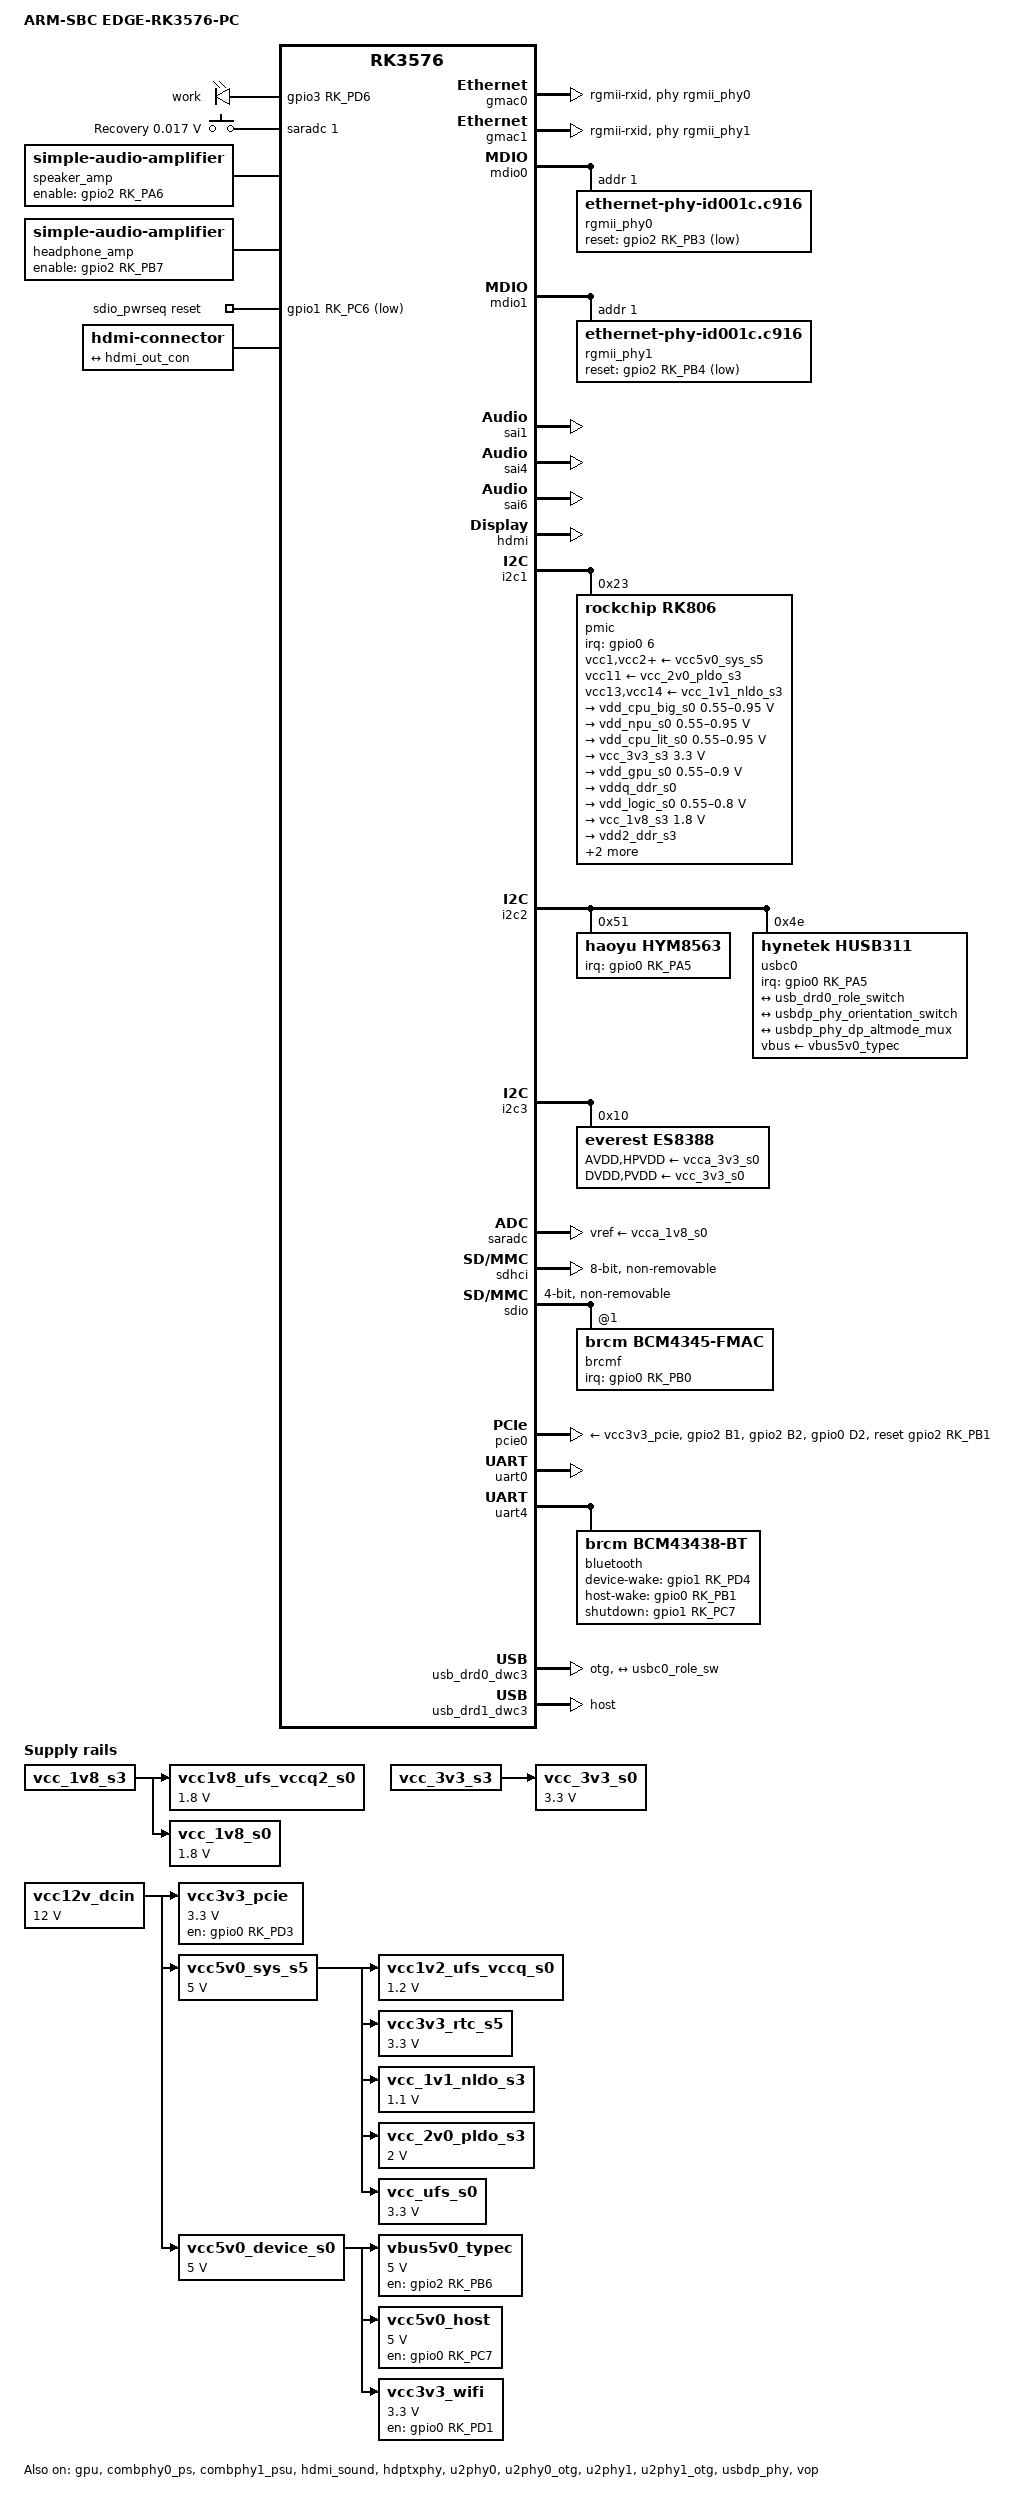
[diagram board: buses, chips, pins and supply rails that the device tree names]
// SPDX-License-Identifier: (GPL-2.0+ OR MIT)
/*
 */

/dts-v1/;

#include <dt-bindings/gpio/gpio.h>
#include <dt-bindings/input/input.h>
#include <dt-bindings/pinctrl/rockchip.h>
#include <dt-bindings/pwm/pwm.h>
#include <dt-bindings/usb/pd.h>
#include <dt-bindings/leds/common.h>
#include <dt-bindings/soc/rockchip,vop2.h>
#include "rk3576.dtsi"

/ {
	model = "ARM-SBC EDGE-RK3576-PC";
	compatible = "armsbc,edge-rk3576-pc", "rockchip,rk3576";

	aliases {
		mmc0 = &sdhci;
		ethernet0 = &gmac0;
		ethernet1 = &gmac1;
	};

	chosen {
		stdout-path = "serial0:1500000n8";
	};
	
	leds: leds {
		compatible = "gpio-leds";

		work {
			linux,default-trigger = "heartbeat";
			gpios = <&gpio3 RK_PD6 GPIO_ACTIVE_HIGH>;
		};
	};

	adc-keys-1 {
		compatible = "adc-keys";
		io-channels = <&saradc 1>;
		io-channel-names = "buttons";
		keyup-threshold-microvolt = <1800000>;
		poll-interval = <100>;

		button-recovery {
			label = "Recovery";
			linux,code = <KEY_VENDOR>;
			press-threshold-microvolt = <17000>;
		};
	};
	
	speaker_amp: speaker-audio-amplifier {
		compatible = "simple-audio-amplifier";
		enable-gpios = <&gpio2 RK_PA6 GPIO_ACTIVE_HIGH>;
		sound-name-prefix = "Speaker Amp";
	};

	headphone_amp: headphones-audio-amplifier {
		compatible = "simple-audio-amplifier";
		enable-gpios = <&gpio2 RK_PB7 GPIO_ACTIVE_HIGH>;
		sound-name-prefix = "Headphones Amp";
	};
	
	es8388_sound: es8388-sound {
		compatible = "simple-audio-card";
		simple-audio-card,format = "i2s";
		simple-audio-card,mclk-fs = <256>;
		simple-audio-card,name = "On-board Analog ES8388";
		simple-audio-card,widgets = "Microphone", "Headphone Mic",
					    "Microphone", "Mic Pads",
					    "Headphone", "Headphone",
					    "Line Out", "Line Out";

		simple-audio-card,routing = "Headphone", "LOUT1",
					    "Headphone", "ROUT1",
					    "Line Out", "LOUT2",
					    "Line Out", "ROUT2",
					    "RINPUT1", "Headphone Mic",
					    "LINPUT2", "Mic Pads",
					    "RINPUT2", "Mic Pads";				
		simple-audio-card,cpu {
			sound-dai = <&sai1>;
		};

		simple-audio-card,codec {
			sound-dai = <&es8388>;
			system-clock-frequency = <12288000>;
		};
	};
	
	sdio_pwrseq: sdiopwrseq {
		compatible = "mmc-pwrseq-simple";
		post-power-on-delay-ms = <200>;
		clock-names = "ext_clock";
		clocks = <&hym8563>;
		pinctrl-names = "default";
		pinctrl-0 = <&wifi_enable_h>;
		reset-gpios = <&gpio1 RK_PC6 GPIO_ACTIVE_LOW>;
	};
	
	hdmi-con {
		compatible = "hdmi-connector";
		type = "a";

		port {
			hdmi_con_in: endpoint {
				remote-endpoint = <&hdmi_out_con>;
			};
		};
	};

	vbus5v0_typec: regulator-vbus5v0-typec {
		compatible = "regulator-fixed";
		enable-active-high;
		gpio = <&gpio2 RK_PB6 GPIO_ACTIVE_HIGH>;
		pinctrl-names = "default";
		pinctrl-0 = <&usb_otg0_pwren_h>;
		regulator-name = "vbus5v0_typec";
		regulator-min-microvolt = <5000000>;
		regulator-max-microvolt = <5000000>;
		vin-supply = <&vcc5v0_device_s0>;
	};

	vcc12v_dcin: regulator-vcc12v-dcin {
		compatible = "regulator-fixed";
		regulator-name = "vcc12v_dcin";
		regulator-always-on;
		regulator-boot-on;
		regulator-min-microvolt = <12000000>;
		regulator-max-microvolt = <12000000>;
	};

	vcc1v2_ufs_vccq_s0: regulator-vcc1v2-ufs-vccq-s0 {
		compatible = "regulator-fixed";
		regulator-name = "vcc1v2_ufs_vccq_s0";
		regulator-boot-on;
		regulator-always-on;
		regulator-min-microvolt = <1200000>;
		regulator-max-microvolt = <1200000>;
		vin-supply = <&vcc5v0_sys_s5>;
	};

	vcc1v8_ufs_vccq2_s0: regulator-vcc1v8-ufs-vccq2-s0 {
		compatible = "regulator-fixed";
		regulator-name = "vcc1v8_ufs_vccq2_s0";
		regulator-boot-on;
		regulator-always-on;
		regulator-min-microvolt = <1800000>;
		regulator-max-microvolt = <1800000>;
		vin-supply = <&vcc_1v8_s3>;
	};

	vcc3v3_pcie: regulator-vcc3v3-pcie {
		compatible = "regulator-fixed";
		enable-active-high;
		gpio = <&gpio0 RK_PD3 GPIO_ACTIVE_HIGH>;
		pinctrl-names = "default";
		pinctrl-0 = <&pcie_pwren_h>;
		regulator-name = "vcc3v3_pcie";
		regulator-min-microvolt = <3300000>;
		regulator-max-microvolt = <3300000>;
		startup-delay-us = <5000>;
		vin-supply = <&vcc12v_dcin>;
	};

	vcc3v3_rtc_s5: regulator-vcc3v3-rtc-s5 {
		compatible = "regulator-fixed";
		regulator-name = "vcc3v3_rtc_s5";
		regulator-boot-on;
		regulator-always-on;
		regulator-min-microvolt = <3300000>;
		regulator-max-microvolt = <3300000>;
		vin-supply = <&vcc5v0_sys_s5>;
	};

	vcc5v0_sys_s5: regulator-vcc5v0-sys-s5 {
		compatible = "regulator-fixed";
		regulator-name = "vcc_sys";
		regulator-always-on;
		regulator-boot-on;
		regulator-min-microvolt = <5000000>;
		regulator-max-microvolt = <5000000>;
		vin-supply = <&vcc12v_dcin>;
	};

	vcc5v0_host: regulator-vcc5v0-host {
		compatible = "regulator-fixed";
		enable-active-high;
		gpio = <&gpio0 RK_PC7 GPIO_ACTIVE_HIGH>;
		pinctrl-names = "default";
		pinctrl-0 = <&usb3_host_pwren_h>;
		regulator-name = "vcc5v0_host";
		regulator-min-microvolt = <5000000>;
		regulator-max-microvolt = <5000000>;
		vin-supply = <&vcc5v0_device_s0>;
	};
	
	vcc5v0_device_s0: regulator-vcc5v0-device-s0 {
		compatible = "regulator-fixed";
		enable-active-high;
		pinctrl-names = "default";
		regulator-name = "vcc5v0_device";
		regulator-always-on;
		regulator-boot-on;
		regulator-min-microvolt = <5000000>;
		regulator-max-microvolt = <5000000>;
		vin-supply = <&vcc12v_dcin>;
	};

	vcc_1v1_nldo_s3: regulator-vcc-1v1-nldo-s3 {
		compatible = "regulator-fixed";
		regulator-name = "vcc_1v1_nldo_s3";
		regulator-boot-on;
		regulator-always-on;
		regulator-min-microvolt = <1100000>;
		regulator-max-microvolt = <1100000>;
		vin-supply = <&vcc5v0_sys_s5>;
	};

	vcc_1v8_s0: regulator-vcc-1v8-s0 {
		compatible = "regulator-fixed";
		regulator-name = "vcc_1v8_s0";
		regulator-boot-on;
		regulator-always-on;
		regulator-min-microvolt = <1800000>;
		regulator-max-microvolt = <1800000>;
		vin-supply = <&vcc_1v8_s3>;
	};

	vcc_2v0_pldo_s3: regulator-vcc-2v0-pldo-s3 {
		compatible = "regulator-fixed";
		regulator-name = "vcc_2v0_pldo_s3";
		regulator-boot-on;
		regulator-always-on;
		regulator-min-microvolt = <2000000>;
		regulator-max-microvolt = <2000000>;
		vin-supply = <&vcc5v0_sys_s5>;
	};

	vcc_3v3_s0: regulator-vcc-3v3-s0 {
		compatible = "regulator-fixed";
		regulator-name = "vcc_3v3_s0";
		regulator-boot-on;
		regulator-always-on;
		regulator-min-microvolt = <3300000>;
		regulator-max-microvolt = <3300000>;
		vin-supply = <&vcc_3v3_s3>;
	};

	vcc_ufs_s0: regulator-vcc-ufs-s0 {
		compatible = "regulator-fixed";
		regulator-name = "vcc_ufs_s0";
		regulator-boot-on;
		regulator-always-on;
		regulator-min-microvolt = <3300000>;
		regulator-max-microvolt = <3300000>;
		vin-supply = <&vcc5v0_sys_s5>;
	};
	
	vcc3v3_wifi: vcc3v3-wifi {
		compatible = "regulator-fixed";
		enable-active-high;
		gpio = <&gpio0 RK_PD1 GPIO_ACTIVE_HIGH>;
		pinctrl-names = "default";
		regulator-name = "vcc3v3_wifi";
		pinctrl-0 = <&vcc3v3_wifi_en>;
		regulator-always-on;
		regulator-boot-on;
		regulator-min-microvolt = <3300000>;
		regulator-max-microvolt = <3300000>;
		startup-delay-us = <50000>;
		vin-supply = <&vcc5v0_device_s0>;
	};
};

&cpu_l0 {
	cpu-supply = <&vdd_cpu_lit_s0>;
};

&cpu_l1 {
	cpu-supply = <&vdd_cpu_lit_s0>;
};

&cpu_l2 {
	cpu-supply = <&vdd_cpu_lit_s0>;
};

&cpu_l3 {
	cpu-supply = <&vdd_cpu_lit_s0>;
};

&cpu_b0 {
	cpu-supply = <&vdd_cpu_big_s0>;
};

&cpu_b1 {
	cpu-supply = <&vdd_cpu_big_s0>;
};

&cpu_b2 {
	cpu-supply = <&vdd_cpu_big_s0>;
};

&cpu_b3 {
	cpu-supply = <&vdd_cpu_big_s0>;
};

&gpu {
	mali-supply = <&vdd_gpu_s0>;
	status = "okay";
};

&combphy0_ps {
	status = "okay";
};

&combphy1_psu {
	status = "okay";
};

&gmac0 {
	clock_in_out = "output";
	pinctrl-names = "default";
	pinctrl-0 = <&eth0m0_miim
		     &eth0m0_tx_bus2
		     &eth0m0_rx_bus2
		     &eth0m0_rgmii_clk
		     &eth0m0_rgmii_bus
		     &ethm0_clk0_25m_out>;
	phy-mode = "rgmii-rxid";
	phy-handle = <&rgmii_phy0>;
	status = "okay";
	//rx_delay = <0x00>;
	tx_delay = <0x20>;
};

&gmac1 {
	clock_in_out = "output";
	phy-mode = "rgmii-rxid";
	pinctrl-names = "default";
	pinctrl-0 = <&eth1m0_miim
		     &eth1m0_tx_bus2
		     &eth1m0_rx_bus2
		     &eth1m0_rgmii_clk
		     &eth1m0_rgmii_bus
		     &ethm0_clk1_25m_out>;
	phy-handle = <&rgmii_phy1>;
	status = "okay";
	//rx_delay = <0x00>;
	tx_delay = <0x20>;
};

&mdio0 {
	rgmii_phy0: phy@1 {
		compatible = "ethernet-phy-id001c.c916";
		reg = <0x1>;
		reset-gpios = <&gpio2 RK_PB3 GPIO_ACTIVE_LOW>;
		reset-delay-us = <20000>;
		reset-post-delay-us = <100000>;
		pinctrl-names = "default";
		pinctrl-0 = <&rtl8211a_rst>;
		clocks = <&cru REFCLKO25M_GMAC0_OUT>;

		
	};
};

&mdio1 {
	rgmii_phy1: ethernet-phy@1 {
		compatible = "ethernet-phy-id001c.c916"; 
		reg = <1>;
		reset-gpios = <&gpio2 RK_PB4 GPIO_ACTIVE_LOW>;
		reset-delay-us = <20000>;
		reset-post-delay-us = <100000>;
		pinctrl-names = "default";
		pinctrl-0 = <&rtl8211b_rst>;
		clocks = <&cru REFCLKO25M_GMAC1_OUT>;
	};
};

&sai1 {
	pinctrl-names = "default";
	pinctrl-0 = <&sai1m0_lrck
		     &sai1m0_sclk
		     &sai1m0_sdi0
		     &sai1m0_sdo2>;
	status = "okay";
};

&sai4 {
	pinctrl-names = "default";
	status = "okay";
	pinctrl-0 = <&sai4m0_sclk
		     &sai4m0_lrck
		     &sai4m0_sdi>;
	
};

&sai6 {
	pinctrl-names = "default";
	status = "okay";
};	
	
&hdmi {
	status = "okay";
};

&hdmi_in {
	hdmi_in_vp0: endpoint {
		remote-endpoint = <&vp0_out_hdmi>;
	};
};

&hdmi_out {
	hdmi_out_con: endpoint {
		remote-endpoint = <&hdmi_con_in>;
	};
};

&hdmi_sound {
	status = "okay";
};

&hdptxphy {
	status = "okay";
};

&i2c1 {
	status = "okay";

	pmic@23 {
		compatible = "rockchip,rk806";
		reg = <0x23>;
		interrupt-parent = <&gpio0>;
		interrupts = <6 IRQ_TYPE_LEVEL_LOW>;
		gpio-controller;
		#gpio-cells = <2>;
		pinctrl-names = "default";
		pinctrl-0 = <&pmic_pins>, <&rk806_dvs1_null>,
			    <&rk806_dvs2_null>, <&rk806_dvs3_null>;
		system-power-controller;

		vcc1-supply = <&vcc5v0_sys_s5>;
		vcc2-supply = <&vcc5v0_sys_s5>;
		vcc3-supply = <&vcc5v0_sys_s5>;
		vcc4-supply = <&vcc5v0_sys_s5>;
		vcc5-supply = <&vcc5v0_sys_s5>;
		vcc6-supply = <&vcc5v0_sys_s5>;
		vcc7-supply = <&vcc5v0_sys_s5>;
		vcc8-supply = <&vcc5v0_sys_s5>;
		vcc9-supply = <&vcc5v0_sys_s5>;
		vcc10-supply = <&vcc5v0_sys_s5>;
		vcc11-supply = <&vcc_2v0_pldo_s3>;
		vcc12-supply = <&vcc5v0_sys_s5>;
		vcc13-supply = <&vcc_1v1_nldo_s3>;
		vcc14-supply = <&vcc_1v1_nldo_s3>;
		vcca-supply = <&vcc5v0_sys_s5>;

		rk806_dvs1_null: dvs1-null-pins {
			pins = "gpio_pwrctrl1";
			function = "pin_fun0";
		};

		rk806_dvs2_null: dvs2-null-pins {
			pins = "gpio_pwrctrl2";
			function = "pin_fun0";
		};

		rk806_dvs3_null: dvs3-null-pins {
			pins = "gpio_pwrctrl3";
			function = "pin_fun0";
		};

		rk806_dvs1_slp: dvs1-slp-pins {
			pins = "gpio_pwrctrl1";
			function = "pin_fun1";
		};

		rk806_dvs1_pwrdn: dvs1-pwrdn-pins {
			pins = "gpio_pwrctrl1";
			function = "pin_fun2";
		};

		rk806_dvs1_rst: dvs1-rst-pins {
			pins = "gpio_pwrctrl1";
			function = "pin_fun3";
		};

		rk806_dvs2_slp: dvs2-slp-pins {
			pins = "gpio_pwrctrl2";
			function = "pin_fun1";
		};

		rk806_dvs2_pwrdn: dvs2-pwrdn-pins {
			pins = "gpio_pwrctrl2";
			function = "pin_fun2";
		};

		rk806_dvs2_rst: dvs2-rst-pins {
			pins = "gpio_pwrctrl2";
			function = "pin_fun3";
		};

		rk806_dvs2_dvs: dvs2-dvs-pins {
			pins = "gpio_pwrctrl2";
			function = "pin_fun4";
		};

		rk806_dvs2_gpio: dvs2-gpio-pins {
			pins = "gpio_pwrctrl2";
			function = "pin_fun5";
		};

		rk806_dvs3_slp: dvs3-slp-pins {
			pins = "gpio_pwrctrl3";
			function = "pin_fun1";
		};

		rk806_dvs3_pwrdn: dvs3-pwrdn-pins {
			pins = "gpio_pwrctrl3";
			function = "pin_fun2";
		};

		rk806_dvs3_rst: dvs3-rst-pins {
			pins = "gpio_pwrctrl3";
			function = "pin_fun3";
		};

		rk806_dvs3_dvs: dvs3-dvs-pins {
			pins = "gpio_pwrctrl3";
			function = "pin_fun4";
		};

		rk806_dvs3_gpio: dvs3-gpio-pins {
			pins = "gpio_pwrctrl3";
			function = "pin_fun5";
		};

		regulators {
			vdd_cpu_big_s0: dcdc-reg1 {
				regulator-always-on;
				regulator-boot-on;
				regulator-min-microvolt = <550000>;
				regulator-max-microvolt = <950000>;
				regulator-ramp-delay = <12500>;
				regulator-name = "vdd_cpu_big_s0";
				regulator-enable-ramp-delay = <400>;
				regulator-state-mem {
					regulator-off-in-suspend;
				};
			};

			vdd_npu_s0: dcdc-reg2 {
				regulator-boot-on;
				regulator-min-microvolt = <550000>;
				regulator-max-microvolt = <950000>;
				regulator-ramp-delay = <12500>;
				regulator-name = "vdd_npu_s0";
				regulator-enable-ramp-delay = <400>;
				regulator-state-mem {
					regulator-off-in-suspend;
				};
			};

			vdd_cpu_lit_s0: dcdc-reg3 {
				regulator-always-on;
				regulator-boot-on;
				regulator-min-microvolt = <550000>;
				regulator-max-microvolt = <950000>;
				regulator-ramp-delay = <12500>;
				regulator-name = "vdd_cpu_lit_s0";
				regulator-state-mem {
					regulator-off-in-suspend;
					regulator-suspend-microvolt = <750000>;
				};
			};

			vcc_3v3_s3: dcdc-reg4 {
				regulator-always-on;
				regulator-boot-on;
				regulator-min-microvolt = <3300000>;
				regulator-max-microvolt = <3300000>;
				regulator-name = "vcc_3v3_s3";
				regulator-state-mem {
					regulator-on-in-suspend;
					regulator-suspend-microvolt = <3300000>;
				};
			};

			vdd_gpu_s0: dcdc-reg5 {
				regulator-boot-on;
				regulator-min-microvolt = <550000>;
				regulator-max-microvolt = <900000>;
				regulator-ramp-delay = <12500>;
				regulator-name = "vdd_gpu_s0";
				regulator-enable-ramp-delay = <400>;
				regulator-state-mem {
					regulator-off-in-suspend;
					regulator-suspend-microvolt = <850000>;
				};
			};

			vddq_ddr_s0: dcdc-reg6 {
				regulator-always-on;
				regulator-boot-on;
				regulator-name = "vddq_ddr_s0";
				regulator-state-mem {
					regulator-off-in-suspend;
				};
			};

			vdd_logic_s0: dcdc-reg7 {
				regulator-always-on;
				regulator-boot-on;
				regulator-min-microvolt = <550000>;
				regulator-max-microvolt = <800000>;
				regulator-name = "vdd_logic_s0";
				regulator-state-mem {
					regulator-off-in-suspend;
				};
			};

			vcc_1v8_s3: dcdc-reg8 {
				regulator-always-on;
				regulator-boot-on;
				regulator-min-microvolt = <1800000>;
				regulator-max-microvolt = <1800000>;
				regulator-name = "vcc_1v8_s3";
				regulator-state-mem {
					regulator-on-in-suspend;
					regulator-suspend-microvolt = <1800000>;
				};
			};

			vdd2_ddr_s3: dcdc-reg9 {
				regulator-always-on;
				regulator-boot-on;
				regulator-name = "vdd2_ddr_s3";
				regulator-state-mem {
					regulator-on-in-suspend;
				};
			};

			vdd_ddr_s0: dcdc-reg10 {
				regulator-always-on;
				regulator-boot-on;
				regulator-min-microvolt = <550000>;
				regulator-max-microvolt = <1200000>;
				regulator-name = "vdd_ddr_s0";
				regulator-state-mem {
					regulator-off-in-suspend;
				};
			};

			vcca_1v8_s0: pldo-reg1 {
				regulator-always-on;
				regulator-boot-on;
				regulator-min-microvolt = <1800000>;
				regulator-max-microvolt = <1800000>;
				regulator-name = "vcca_1v8_s0";
				regulator-state-mem {
					regulator-off-in-suspend;
				};
			};

			vcca1v8_pldo2_s0: pldo-reg2 {
				regulator-always-on;
				regulator-boot-on;
				regulator-min-microvolt = <1800000>;
				regulator-max-microvolt = <1800000>;
				regulator-name = "vcca1v8_pldo2_s0";
				regulator-state-mem {
					regulator-off-in-suspend;
				};
			};

			vdda_1v2_s0: pldo-reg3 {
				regulator-always-on;
				regulator-boot-on;
				regulator-min-microvolt = <1200000>;
				regulator-max-microvolt = <1200000>;
				regulator-name = "vdda_1v2_s0";
				regulator-state-mem {
					regulator-off-in-suspend;
				};
			};

			vcca_3v3_s0: pldo-reg4 {
				regulator-always-on;
				regulator-boot-on;
				regulator-min-microvolt = <3300000>;
				regulator-max-microvolt = <3300000>;
				regulator-name = "vcca_3v3_s0";
				regulator-state-mem {
					regulator-off-in-suspend;
				};
			};

			vccio_sd_s0: pldo-reg5 {
				regulator-always-on;
				regulator-boot-on;
				regulator-min-microvolt = <1800000>;
				regulator-max-microvolt = <3300000>;
				regulator-name = "vccio_sd_s0";
				regulator-state-mem {
					regulator-off-in-suspend;
				};
			};

			vcca1v8_pldo6_s3: pldo-reg6 {
				regulator-always-on;
				regulator-boot-on;
				regulator-min-microvolt = <1800000>;
				regulator-max-microvolt = <1800000>;
				regulator-name = "vcca1v8_pldo6_s3";
				regulator-state-mem {
					regulator-on-in-suspend;
					regulator-suspend-microvolt = <1800000>;
				};
			};

			vdd_0v75_s3: nldo-reg1 {
				regulator-always-on;
				regulator-boot-on;
				regulator-min-microvolt = <750000>;
				regulator-max-microvolt = <750000>;
				regulator-name = "vdd_0v75_s3";
				regulator-state-mem {
					regulator-on-in-suspend;
					regulator-suspend-microvolt = <750000>;
				};
			};

			vdda_ddr_pll_s0: nldo-reg2 {
				regulator-always-on;
				regulator-boot-on;
				regulator-min-microvolt = <850000>;
				regulator-max-microvolt = <850000>;
				regulator-name = "vdda_ddr_pll_s0";
				regulator-state-mem {
					regulator-off-in-suspend;
				};
			};

			vdda0v75_hdmi_s0: nldo-reg3 {
				regulator-always-on;
				regulator-boot-on;
				regulator-min-microvolt = <837500>;
				regulator-max-microvolt = <837500>;
				regulator-name = "vdda0v75_hdmi_s0";
				regulator-state-mem {
					regulator-off-in-suspend;
				};
			};

			vdda_0v85_s0: nldo-reg4 {
				regulator-always-on;
				regulator-boot-on;
				regulator-min-microvolt = <850000>;
				regulator-max-microvolt = <850000>;
				regulator-name = "vdda_0v85_s0";
				regulator-state-mem {
					regulator-off-in-suspend;
				};
			};

			vdda_0v75_s0: nldo-reg5 {
				regulator-always-on;
				regulator-boot-on;
				regulator-min-microvolt = <750000>;
				regulator-max-microvolt = <750000>;
				regulator-name = "vdda_0v75_s0";
				regulator-state-mem {
					regulator-off-in-suspend;
				};
			};
		};
	};
};

&i2c2 {
	status = "okay";
	hym8563: rtc@51 {
		compatible = "haoyu,hym8563";
		reg = <0x51>;
		#clock-cells = <0>;
		clock-output-names = "hym8563";
		pinctrl-names = "default";
		pinctrl-0 = <&rtc_int_l>;
		interrupt-parent = <&gpio0>;
		interrupts = <RK_PA5 IRQ_TYPE_LEVEL_LOW>;
		wakeup-source;
	};
	
	usbc0: husb311@4e {
		compatible = "hynetek,husb311";
		reg = <0x4e>;
		interrupt-parent = <&gpio0>;
		interrupts = <RK_PA5 IRQ_TYPE_LEVEL_LOW>;
		pinctrl-names = "default";
		pinctrl-0 = <&usbc0_int>;
		vbus-supply = <&vbus5v0_typec>;
		status = "okay";

		port {
			usbc0_role_sw: endpoint {
				remote-endpoint = <&usb_drd0_role_switch>;
			};
		};

		usb_con: connector {
			compatible = "usb-c-connector";
			label = "USB-C";
			data-role = "dual";
			power-role = "dual";
			try-power-role = "sink";
			op-sink-microwatt = <1000000>;
			sink-pdos =
				<PDO_FIXED(5000, 1000, PDO_FIXED_USB_COMM)>;
			source-pdos =
				<PDO_FIXED(5000, 3000, PDO_FIXED_USB_COMM)>;

			altmodes {
				#address-cells = <1>;
				#size-cells = <0>;

				altmode@0 {
					reg = <0>;
					svid = <0xff01>;
					vdo = <0xffffffff>;
				};
			};

			ports {
				#address-cells = <1>;
				#size-cells = <0>;

				port@0 {
					reg = <0>;
					usbc0_orien_sw: endpoint {
						remote-endpoint = <&usbdp_phy_orientation_switch>;
					};
				};

				port@1 {
					reg = <1>;
					dp_altmode_mux: endpoint {
						remote-endpoint = <&usbdp_phy_dp_altmode_mux>;
					};
				};
			};
		};
	};
};

&i2c3 {
	status = "okay";

	es8388: audio-codec@10 {
		compatible = "everest,es8388", "everest,es8328";
		reg = <0x10>;
		clocks = <&cru CLK_SAI1_MCLKOUT_TO_IO>;
		AVDD-supply = <&vcca_3v3_s0>;
		DVDD-supply = <&vcc_3v3_s0>;
		HPVDD-supply = <&vcca_3v3_s0>;
		PVDD-supply = <&vcc_3v3_s0>;
		assigned-clocks = <&cru CLK_SAI1_MCLKOUT_TO_IO>;
		assigned-clock-rates = <12288000>;
		#sound-dai-cells = <0>;
		clock-names = "mclk";
		pinctrl-names = "default";
		pinctrl-0 = <&sai1m0_mclk>;
	};
};


&saradc {
	vref-supply = <&vcca_1v8_s0>;
	status = "okay";
};

&sdhci {
	bus-width = <8>;
	mmc-hs200-1_8v;
	no-sdio;
	no-sd;
	non-removable;
	pinctrl-names = "default";
	vqmmc-supply = <&vcc_1v8_s3>;
	status = "okay";
};

&sdio {
	max-frequency = <200000000>;
	no-sd;
	no-mmc;
	bus-width = <4>;
	disable-wp;
	cap-sd-highspeed;
	cap-sdio-irq;
	keep-power-in-suspend;
	mmc-pwrseq = <&sdio_pwrseq>;
	non-removable;
	pinctrl-names = "default";
	pinctrl-0 = <&sdmmc1m0_bus4 &sdmmc1m0_clk &sdmmc1m0_cmd>;
	sd-uhs-sdr104;
	status = "okay";

    	brcmf: wifi@1 {
    		status = "okay";
		compatible = "brcm,bcm4345-fmac";
		interrupt-parent = <&gpio0>;
		interrupts = <RK_PB0 IRQ_TYPE_LEVEL_HIGH>;
		interrupt-names = "host-wake";
		pinctrl-names = "default";
		pinctrl-0 = <&wifi_host_wake_h>;
		clock-names = "ext_clock";
		clocks = <&hym8563>;
    };
};

&pcie0 {
	pinctrl-names = "default";
	reset-gpios = <&gpio2 RK_PB1 GPIO_ACTIVE_HIGH>;
	vpcie3v3-supply = <&vcc3v3_pcie>;
	pinctrl-0 = <&pcie_reset &pcie_clk &pcie_wake>;
	rockchip,skip-scan-in-resume;
	status = "okay";
};

&pinctrl {
	hym8563 {
		rtc_int_l: rtc-int-l {
			rockchip,pins = <0 RK_PA5 RK_FUNC_GPIO &pcfg_pull_up>;
		};
	};

	pcie {
		pcie_pwren_h: pcie-pwren-h {
			rockchip,pins = <0 RK_PD3 RK_FUNC_GPIO &pcfg_pull_up>;
		};
		
		pcie_reset: pcie-reset {
			rockchip,pins = <2 RK_PB1 RK_FUNC_GPIO &pcfg_pull_up>;
		};
		
		pcie_clk: pcie-clk {
			rockchip,pins = <2 RK_PB2 RK_FUNC_GPIO &pcfg_pull_up>;
		};
		
		pcie_wake: pcie-wake {
			rockchip,pins = <0 RK_PD2 RK_FUNC_GPIO &pcfg_pull_up>;
		};
	};

	usb {

		usb3_host_pwren_h: usb3-host-pwren-h {
			rockchip,pins = <0 RK_PC7 RK_FUNC_GPIO &pcfg_pull_none>;
		};

		usb_otg0_pwren_h: usb-otg0-pwren-h {
			rockchip,pins = <2 RK_PB6 RK_FUNC_GPIO &pcfg_pull_none>;
		};
		
		usbc0_int: usbc0-int {
			rockchip,pins = <0 RK_PB4 RK_FUNC_GPIO &pcfg_pull_up>;
		};
	};
	
	ethernet {
		rtl8211a_rst: rtl8211a-rst {
			rockchip,pins = <2 RK_PB3 RK_FUNC_GPIO &pcfg_pull_none>;
		};
		
		rtl8211b_rst: rtl8211b-rst {
			rockchip,pins = <2 RK_PB4 RK_FUNC_GPIO &pcfg_pull_none>;
		};
	};
	
	wifi {
		wifi_enable_h: wifi-enable-h {
			rockchip,pins = <1 RK_PC6 RK_FUNC_GPIO &pcfg_pull_up>;
		};
			
		wifi_host_wake_h: wifi-host-wake-h {
			rockchip,pins = <0 RK_PB0 RK_FUNC_GPIO &pcfg_pull_down>;
		};
		
		vcc3v3_wifi_en: vcc3v3-wifi-en {
			rockchip,pins = <0 RK_PD1 RK_FUNC_GPIO &pcfg_pull_up>;
		};
	};
	
	bluetooth {
		bt_wake_gpio: bt-wake-gpio {
			rockchip,pins = <1 RK_PD4 RK_FUNC_GPIO &pcfg_pull_up>;
		};
			
		bt_reset_gpio: bt-reset-gpio {
			rockchip,pins = <1 RK_PC7 RK_FUNC_GPIO &pcfg_pull_up>;
		};
		
		bt_wake_host_irq: bt-wake-host-irq {
			rockchip,pins = <0 RK_PB1 RK_FUNC_GPIO &pcfg_pull_down>;
		};
	};
};

&uart0 {
	pinctrl-0 = <&uart0m0_xfer>;
	status = "okay";
};

&uart4 {
	pinctrl-names = "default";
	pinctrl-0 = <&uart4m1_xfer &uart4m1_rtsn &uart4m1_ctsn>;
	uart-has-rtscts;
	status = "okay";

	bluetooth {
		compatible = "brcm,bcm43438-bt";
		clock-names = "ext_clock";
		clocks = <&hym8563>;
		device-wake-gpios = <&gpio1 RK_PD4 GPIO_ACTIVE_HIGH>;
		host-wake-gpios = <&gpio0 RK_PB1 GPIO_ACTIVE_HIGH>;
		shutdown-gpios = <&gpio1 RK_PC7 GPIO_ACTIVE_HIGH>;
		pinctrl-names = "default";
		pinctrl-0 = <&bt_wake_gpio &bt_reset_gpio &bt_wake_host_irq>;
		status = "okay";
	};
};

&u2phy0 {
	status = "okay";
};

&u2phy0_otg {
	phy-supply = <&vbus5v0_typec>;
	status = "okay";
};

&u2phy1 {
	status = "okay";
};

&u2phy1_otg {
	phy-supply = <&vcc5v0_host>;
	status = "okay";
};

&uart0 {
	status = "okay";
};

&usbdp_phy {
	status = "okay";
	orientation-switch;
	svid = <0xff01>;
	sbu1-dc-gpios = <&gpio4 RK_PC4 GPIO_ACTIVE_HIGH>;
	sbu2-dc-gpios = <&gpio4 RK_PC5 GPIO_ACTIVE_HIGH>;

	port {
		#address-cells = <1>;
		#size-cells = <0>;

		usbdp_phy_orientation_switch: endpoint@0 {
			reg = <0>;
			remote-endpoint = <&usbc0_orien_sw>;
		};

		usbdp_phy_dp_altmode_mux: endpoint@1 {
			reg = <1>;
			remote-endpoint = <&dp_altmode_mux>;
		};
	};
};

&usb_drd0_dwc3 {
	status = "okay";
	dr_mode = "otg";
	usb-role-switch;
	port {
		usb_drd0_role_switch: endpoint {
			remote-endpoint = <&usbc0_role_sw>;
		};
	};
};

&usb_drd1_dwc3 {
	dr_mode = "host";
	status = "okay";
};

&vop {
	status = "okay";
};

&vop_mmu {
	status = "okay";
};

&vp0 {
	vp0_out_hdmi: endpoint@ROCKCHIP_VOP2_EP_HDMI0 {
		reg = <ROCKCHIP_VOP2_EP_HDMI0>;
		remote-endpoint = <&hdmi_in_vp0>;
	};
};
